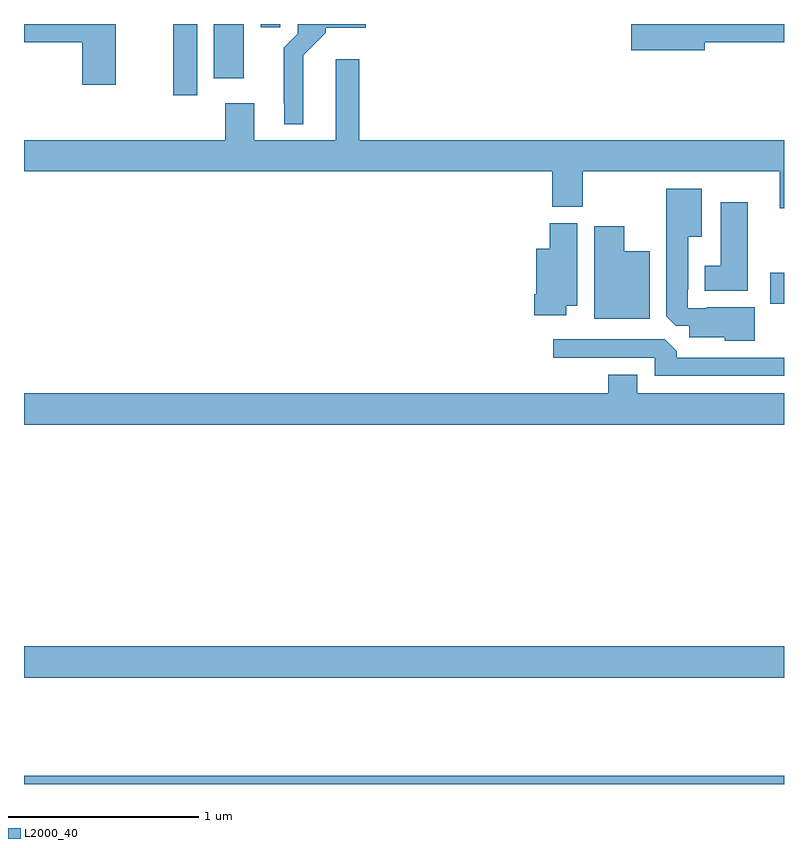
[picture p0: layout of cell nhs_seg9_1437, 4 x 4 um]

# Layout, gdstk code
import gdstk
lib = gdstk.Library(unit=1e-6, precision=1e-09)
def R(c, l, rs):  # rectangles x0, y0, x1, y1
    for r in rs: c.add(gdstk.rectangle(r[:2], r[2:], *l))
def P(c, l, *ps):  # polygons
    for p in ps: c.add(gdstk.Polygon(p, *l))
L2000_40 = (2000, 40)

nhs_seg9_1437 = lib.new_cell('nhs_seg9_1437')
R(nhs_seg9_1437, L2000_40, [(191,1222.5,195,1222.544), (191,1223.06,195,1223.224), (194.928,1225.028,195,1225.191), (191.785,1226.124,191.911,1226.5), (191.999,1226.214,192.157,1226.5), (192.245,1226.484,192.349,1226.5)])
P(nhs_seg9_1437, L2000_40, [(194.584,1226.404),(195,1226.404),(195,1226.5),(194.196,1226.5),(194.196,1226.362),(194.584,1226.362)],
  [(191.484,1226.5),(191,1226.5),(191,1226.404),(191.306,1226.404),(191.306,1226.181),(191.484,1226.181)],
  [(192.469,1226.336),(192.587,1226.454),(192.587,1226.48),(192.799,1226.48),(192.799,1226.5),(192.441,1226.5),(192.441,1226.448),(192.368,1226.375),(192.368,1226.083),(192.371,1226.083),(192.371,1225.973),(192.469,1225.973)],
  [(192.764,1226.314),(192.641,1226.314),(192.641,1225.888),(192.211,1225.888),(192.211,1226.083),(192.059,1226.083),(192.059,1225.888),(191,1225.888),(191,1225.724),(193.781,1225.724),(193.781,1225.537),(193.941,1225.537),(193.941,1225.724),(194.978,1225.724),(194.978,1225.53),(195,1225.53),(195,1225.888),(192.764,1225.888)],
  [(194.845,1225.009),(194.593,1225.009),(194.593,1225.005),(194.493,1225.005),(194.493,1225.105),(194.497,1225.105),(194.497,1225.379),(194.566,1225.379),(194.566,1225.633),(194.381,1225.633),(194.381,1224.961),(194.43,1224.912),(194.501,1224.912),(194.501,1224.851),(194.688,1224.851),(194.688,1224.833),(194.845,1224.833)],
  [(194.809,1225.561),(194.666,1225.561),(194.666,1225.228),(194.582,1225.228),(194.582,1225.097),(194.809,1225.097)],
  [(193.855,1225.016),(193.912,1225.016),(193.912,1225.452),(193.766,1225.452),(193.766,1225.318),(193.697,1225.318),(193.697,1225.078),(193.685,1225.078),(193.685,1224.966),(193.855,1224.966)],
  [(194.293,1225.303),(194.158,1225.303),(194.158,1225.435),(194,1225.435),(194,1224.95),(194.293,1224.95)],
  [(195,1224.744),(194.435,1224.744),(194.435,1224.778),(194.373,1224.84),(193.785,1224.84),(193.785,1224.744),(194.319,1224.744),(194.319,1224.648),(195,1224.648)],
  [(195,1224.556),(194.227,1224.556),(194.227,1224.655),(194.075,1224.655),(194.075,1224.556),(191,1224.556),(191,1224.392),(195,1224.392)])

lib.write_gds('nhs_seg9_1437.gds')
